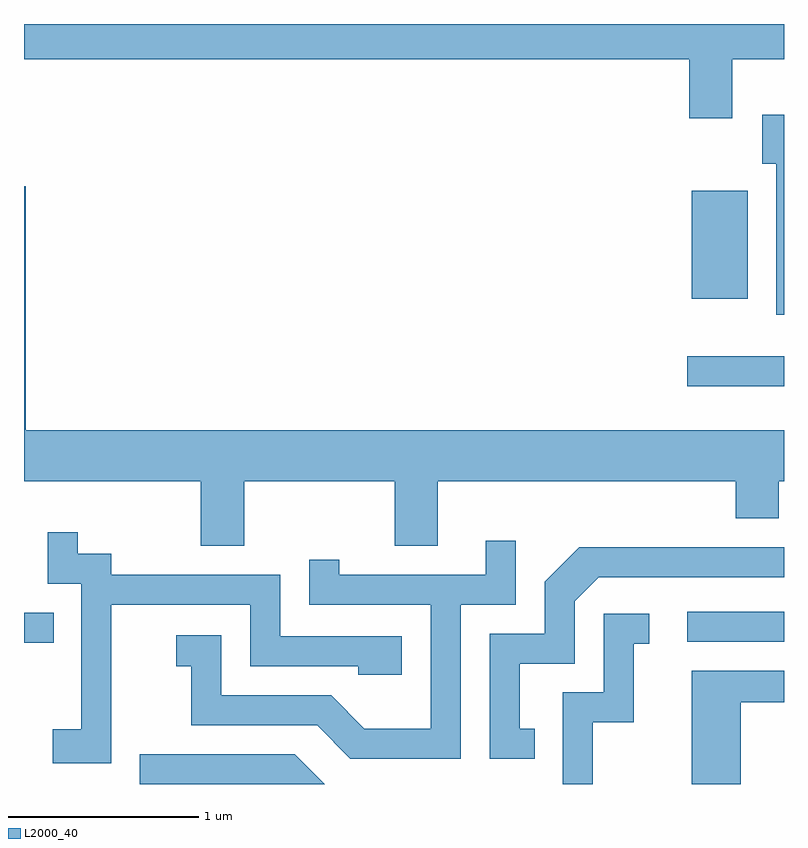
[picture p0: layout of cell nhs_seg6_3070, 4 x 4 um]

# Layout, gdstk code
import gdstk
lib = gdstk.Library(unit=1e-6, precision=1e-09)
def R(c, l, rs):  # rectangles x0, y0, x1, y1
    for r in rs: c.add(gdstk.rectangle(r[:2], r[2:], *l))
def P(c, l, *ps):  # polygons
    for p in ps: c.add(gdstk.Polygon(p, *l))
L2000_40 = (2000, 40)

nhs_seg6_3070 = lib.new_cell('nhs_seg6_3070')
R(nhs_seg6_3070, L2000_40, [(277.611,1606.906,277.768,1607.064), (281.103,1606.911,281.611,1607.069), (281.103,1608.256,281.611,1608.414), (281.126,1608.716,281.419,1609.284)])
P(nhs_seg6_3070, L2000_40, [(281.339,1609.976),(281.611,1609.976),(281.611,1610.162),(277.611,1610.162),(277.611,1609.976),(281.111,1609.976),(281.111,1609.666),(281.339,1609.666)],
  [(281.611,1609.684),(281.496,1609.684),(281.496,1609.426),(281.571,1609.426),(281.571,1608.631),(281.611,1608.631)],
  [(278.769,1607.756),(279.561,1607.756),(279.561,1607.416),(279.789,1607.416),(279.789,1607.756),(281.356,1607.756),(281.356,1607.561),(281.584,1607.561),(281.584,1607.756),(281.611,1607.756),(281.611,1608.024),(277.619,1608.024),(277.619,1609.309),(277.611,1609.309),(277.611,1607.756),(278.541,1607.756),(278.541,1607.416),(278.769,1607.416)],
  [(278.069,1607.106),(278.801,1607.106),(278.801,1606.781),(279.371,1606.781),(279.371,1606.736),(279.599,1606.736),(279.599,1606.939),(278.959,1606.939),(278.959,1607.264),(278.069,1607.264),(278.069,1607.374),(277.894,1607.374),(277.894,1607.488),(277.736,1607.488),(277.736,1607.216),(277.911,1607.216),(277.911,1606.449),(277.761,1606.449),(277.761,1606.271),(278.069,1606.271)],
  [(279.909,1607.106),(280.199,1607.106),(280.199,1607.443),(280.041,1607.443),(280.041,1607.264),(279.269,1607.264),(279.269,1607.343),(279.111,1607.343),(279.111,1607.106),(279.751,1607.106),(279.751,1606.454),(279.402,1606.454),(279.227,1606.629),(278.649,1606.629),(278.649,1606.944),(278.413,1606.944),(278.413,1606.781),(278.491,1606.781),(278.491,1606.471),(279.154,1606.471),(279.329,1606.296),(279.909,1606.296)],
  [(280.298,1606.454),(280.219,1606.454),(280.219,1606.796),(280.509,1606.796),(280.509,1607.124),(280.637,1607.251),(281.611,1607.251),(281.611,1607.409),(280.534,1607.409),(280.351,1607.227),(280.351,1606.954),(280.061,1606.954),(280.061,1606.296),(280.298,1606.296)],
  [(280.604,1606.486),(280.819,1606.486),(280.819,1606.901),(280.903,1606.901),(280.903,1607.059),(280.661,1607.059),(280.661,1606.644),(280.446,1606.644),(280.446,1606.162),(280.604,1606.162)],
  [(281.384,1606.591),(281.611,1606.591),(281.611,1606.759),(281.126,1606.759),(281.126,1606.162),(281.384,1606.162)],
  [(279.037,1606.319),(278.221,1606.319),(278.221,1606.162),(279.194,1606.162)])

lib.write_gds('nhs_seg6_3070.gds')
